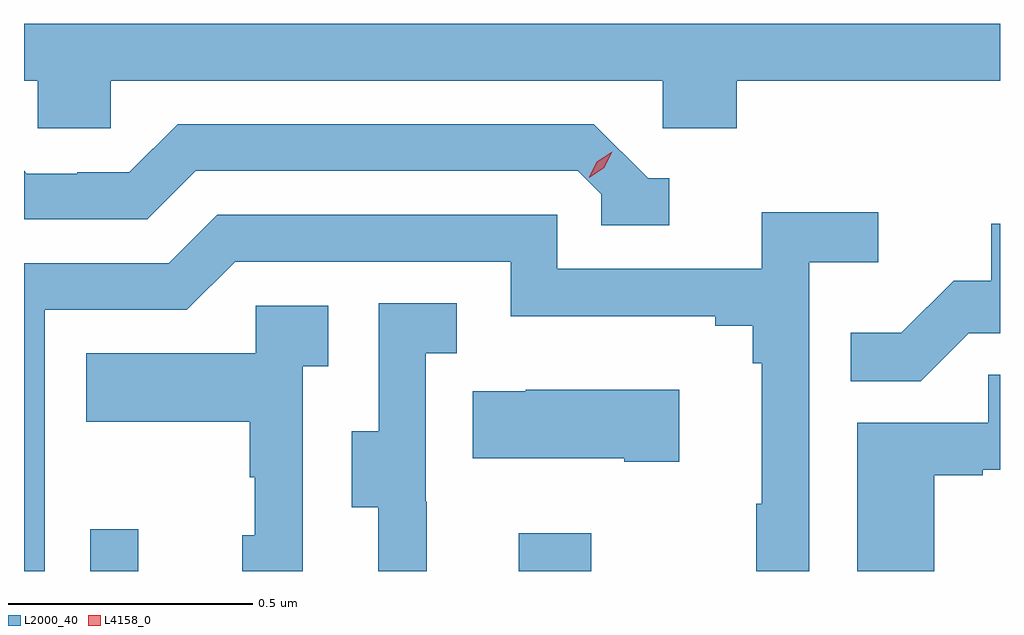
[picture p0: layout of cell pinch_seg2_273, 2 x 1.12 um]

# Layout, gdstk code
import gdstk
lib = gdstk.Library(unit=1e-6, precision=1e-09)
def R(c, l, rs):  # rectangles x0, y0, x1, y1
    for r in rs: c.add(gdstk.rectangle(r[:2], r[2:], *l))
def P(c, l, *ps):  # polygons
    for p in ps: c.add(gdstk.Polygon(p, *l))
L2000_40 = (2000, 40)
L4158_0 = (4158, 0)

pinch_seg2_273 = lib.new_cell('pinch_seg2_273')
R(pinch_seg2_273, L2000_40, [(910.803,665.279,910.901,665.365), (911.681,665.279,911.829,665.356)])
P(pinch_seg2_273, L2000_40, [(910.845,666.284),(911.976,666.284),(911.976,666.186),(912.128,666.186),(912.128,666.284),(912.667,666.284),(912.667,666.4),(910.667,666.4),(910.667,666.284),(910.695,666.284),(910.695,666.186),(910.845,666.186)],
  [(911.989,666.084),(911.946,666.084),(911.835,666.195),(910.982,666.195),(910.883,666.096),(910.776,666.096),(910.776,666.093),(910.673,666.093),(910.667,666.099),(910.667,666),(910.92,666),(911.019,666.099),(911.802,666.099),(911.85,666.051),(911.85,665.988),(911.989,665.988)],
  [(910.71,665.814),(911.001,665.814),(911.1,665.913),(911.664,665.913),(911.664,665.801),(912.083,665.801),(912.083,665.782),(912.16,665.782),(912.16,665.705),(912.179,665.705),(912.179,665.417),(912.168,665.417),(912.168,665.279),(912.276,665.279),(912.276,665.912),(912.418,665.912),(912.418,666.014),(912.179,666.014),(912.179,665.898),(911.76,665.898),(911.76,666.009),(911.063,666.009),(910.964,665.91),(910.667,665.91),(910.667,665.279),(910.71,665.279)],
  [(912.603,665.766),(912.667,665.766),(912.667,665.991),(912.649,665.991),(912.649,665.874),(912.572,665.874),(912.465,665.767),(912.361,665.767),(912.361,665.668),(912.505,665.668)],
  [(911.492,665.421),(911.49,665.421),(911.49,665.725),(911.554,665.725),(911.554,665.828),(911.394,665.828),(911.394,665.565),(911.339,665.565),(911.339,665.41),(911.393,665.41),(911.393,665.279),(911.492,665.279)],
  [(911.238,665.699),(911.29,665.699),(911.29,665.823),(911.142,665.823),(911.142,665.725),(910.795,665.725),(910.795,665.585),(911.13,665.585),(911.13,665.471),(911.14,665.471),(911.14,665.352),(911.114,665.352),(911.114,665.279),(911.238,665.279)],
  [(912.532,665.475),(912.632,665.475),(912.632,665.487),(912.667,665.487),(912.667,665.681),(912.643,665.681),(912.643,665.583),(912.374,665.583),(912.374,665.279),(912.532,665.279)],
  [(912.01,665.65),(911.695,665.65),(911.695,665.647),(911.587,665.647),(911.587,665.51),(911.897,665.51),(911.897,665.503),(912.01,665.503)])
P(pinch_seg2_273, L4158_0, [(911.825,666.085),(911.825,666.086),(911.841,666.118),(911.872,666.138),(911.872,666.138),(911.872,666.138),(911.856,666.105),(911.825,666.085)])

lib.write_gds('pinch_seg2_273.gds')
